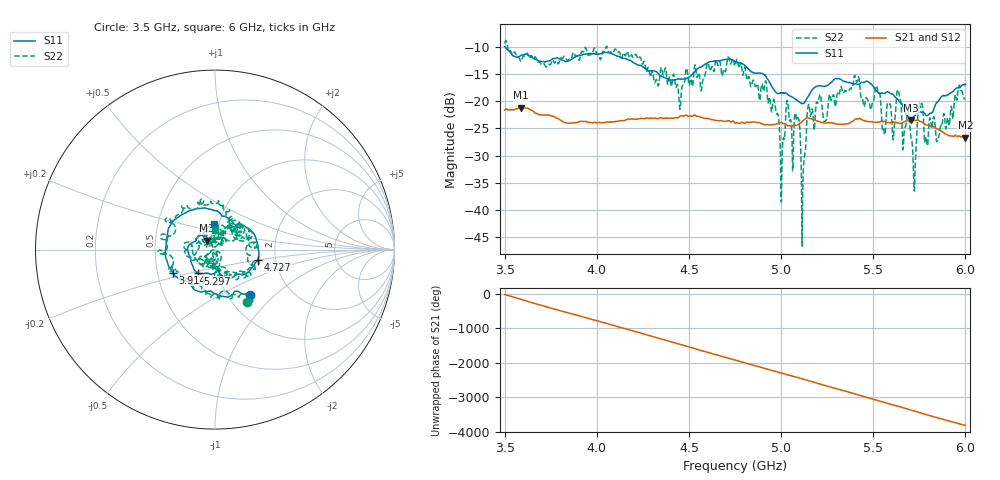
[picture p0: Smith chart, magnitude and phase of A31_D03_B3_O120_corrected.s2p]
! Created with skrf 1.9.0 (http://scikit-rf.org).
# Hz S RI R 50.0
!freq ReS11 ImS11 ReS21 ImS21 ReS12 ImS12 ReS22 ImS22
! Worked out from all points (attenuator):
!   1601 points, 3.5 GHz to 6 GHz, reference 50 ohm
!   highest |S21| = -21.15 dB at 3.591 GHz (marker M1); lowest = -26.7 dB at 6 GHz (marker M2)
!   lowest |S11| = -23.5 dB at 5.706 GHz (marker M3), VSWR 1.14, Z = 45.4 + j4.46 ohm
!   |S11| at or under -10 dB: 3.505 GHz to end of sweep
!   |S22| runs from -46.8 to -8.7 dB; largest |S21 - S12| = 0.00096
!   S11 on the Smith chart (normalised r, x): 3.5 GHz: 1.27, -0.71; 3.914 GHz: 0.60, -0.17; 4.727 GHz: 1.62, -0.19; 5.297 GHz: 0.80, -0.22; 6 GHz: 0.94, +0.28
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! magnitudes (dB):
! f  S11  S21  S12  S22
! 3.5 GHz  -9.9  -21.5  -21.5  -9.3
! 3.591 GHz  -11.4  -21.1  -21.1  -12.5
! 3.914 GHz  -11.4  -23.7  -23.7  -11.1
! 3.917 GHz  -11.4  -23.7  -23.7  -10.8
! 4.334 GHz  -14.9  -23.2  -23.1  -17.1
! 4.727 GHz  -12.2  -23.8  -23.7  -13.0
! 4.75 GHz  -12.6  -24.0  -23.9  -13.4
! 4.969 GHz  -18.2  -24.2  -24.2  -21.1
! 5.006 GHz  -18.4  -24.0  -23.9  -29.6
! 5.034 GHz  -18.6  -24.5  -24.4  -19.9
! 5.088 GHz  -19.8  -24.3  -24.3  -23.2
! 5.119 GHz  -20.4  -23.6  -23.5  -34.7
! 5.145 GHz  -19.2  -23.0  -23.0  -21.0
! 5.167 GHz  -18.0  -23.2  -23.2  -21.5
! 5.297 GHz  -15.8  -24.2  -24.1  -20.6
! 5.584 GHz  -18.3  -23.9  -23.9  -20.3
! 5.639 GHz  -19.9  -24.0  -24.0  -18.4
! 5.706 GHz  -23.5  -23.5  -23.5  -27.0
! 5.725 GHz  -22.6  -23.5  -23.4  -34.8
! 5.756 GHz  -21.9  -23.7  -23.6  -21.1
! 5.787 GHz  -22.6  -24.3  -24.3  -26.6
! 6 GHz  -16.8  -26.7  -26.7  -19.4
